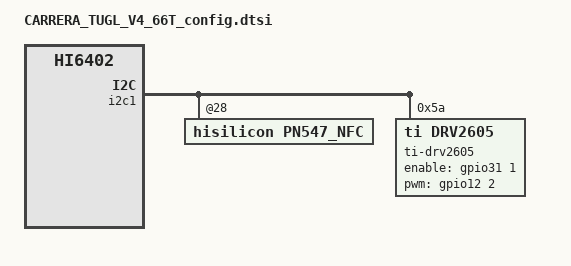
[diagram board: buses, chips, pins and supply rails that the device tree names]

/**
 * Huawei Ltd.
 * PhosphorV660
 */


/include/ "fastboot.dtsi"
/include/ "CARRERA_TUGL_V3_66T_config.dtsi"
/include/ "CARRERA_TUGL_V4_66T_pin.dtsi"
/include/ "CARRERA_TUGL_V4_66T_hi6402_pin.dtsi"
/include/ "CARRERA_TUGL_V4_66T_modem_pin.dtsi"
///include/ "CARRERA_TUGL_V4_66T_charger.dtsi"
///include/ "CARRERA_TUGL_V4_66T_pmic.dtsi"
///include/ "CARRERA_TUGL_V4_66T_gpio_logic.dtsi"

/ {
	hisi,boardid = <1 4 8 3 >;
	hisi,boardname = "CARRERA_TUGL_V4_66T";
	hisi,modem_id = <0x3EF5E000>;

	antenna_fpga{
		compatible = "antenna_fpga";
		antenna_fpga,pre-image-filename = "CARRERA-TULG-V4.bin";
		status = "ok";
	};
	amba {
		i2c1: i2c@FDF0A000 {
			pn547_nfc:nfc@28 {
				compatible = "hisilicon,pn547_nfc";
				nfc_nxp_name = "libnfc_nxp_carrera.conf";
				conf_for_factory = "true";
				status = "ok";
			};
			ti-drv2605@5a {
				compatible = "ti,drv2605";
				reg = <0x5a>;
				ti,label = "vibrator";
				gpio-enable = <&gpio31 1 0>;
				gpio-pwm = <&gpio12 2 0>;
				ti,max-timeout-ms = <10000>;
				status = "ok";
			};
		};
	};
	bcm_wifi {
		wlan_enable,gpio_vio = <&gpio28 1 0>;
		ext_type;
	};
	bluetooth_power:bluetooth_power{
		huawei,vio_en = <225>;
	};
	touchscreen {
		synaptics: touchscreen@70 {
			pinctrl-0 = <&gpio020_cfg_func &gpio200_cfg_func>;
			pinctrl-1 = <&gpio020_cfg_idle &gpio200_cfg_idle>;
			reset_gpio = <&gpio2 4 0>;
		};
		hideep: touchscreen@6c {
			pinctrl-0 = <&gpio020_cfg_func &gpio200_cfg_func>;
			pinctrl-1 = <&gpio020_cfg_idle &gpio200_cfg_idle>;
			reset_gpio = <&gpio2 4 0>;
		};
	};
	hisi_vibrator@fff34000 {
		status = "disable";
	};
	sensorhub_ext_config:sensorhub_ex{
		txc_pa224_exist = "yes";
	};
	devcheck: devcheck {
		vibrator_lra = <1>;
		l_sensor = <1>;
		ps_sensor = <1>;
		status = "ok";
	};
	immersion {
		compatible = "immersion,tspdrv";
		immersion_exist = "yes";
	};
};

